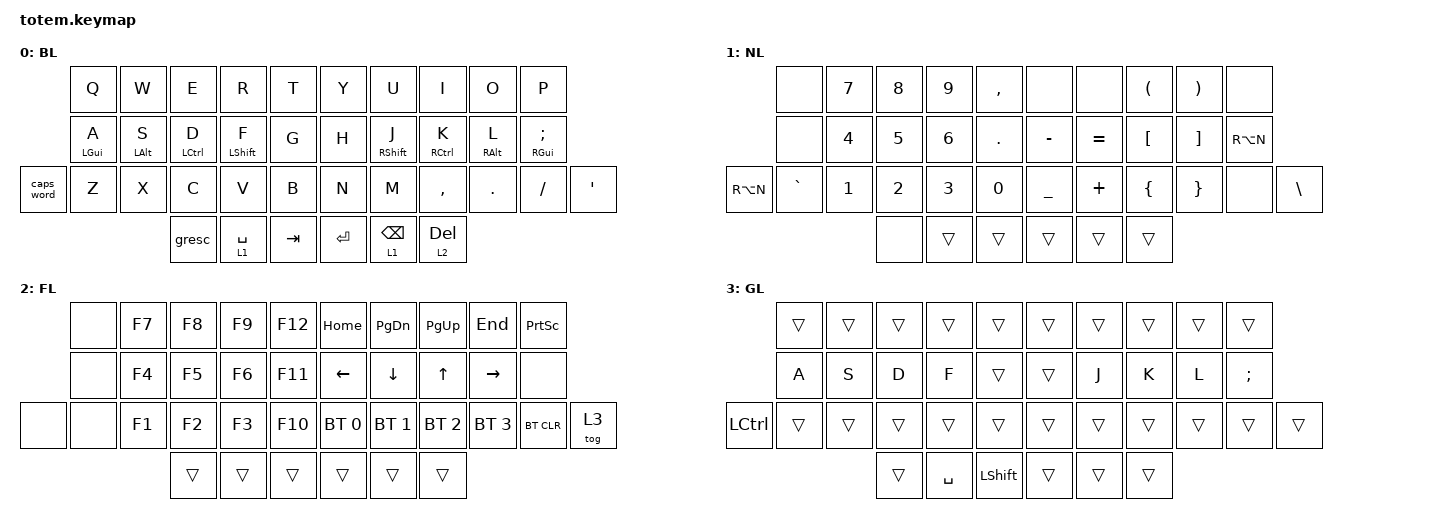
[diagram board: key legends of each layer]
//
//                                                        ▀▀▀▀▀     ▀▀▀▀▀          ▀▀█▀▀
//                                                        ▄▀▀▀▄  ▄  ▄▀▀▀▄  ▄  ▄▀▀▀▄  █  ▄▀▀▀▄
//                                                        █   █  █  █   █  █  █   █  █  █   █
//                                                         ▀▀▀   █   ▀▀▀   █   ▀▀▀   ▀   ▀▀▀
//                                                               █      ▄▄▄█▄▄▄    █   █  
//                                                               ▀      █  █  █     █▄█
//                                                             ▀▀▀▀▀    █  █  █      ▀
//                                                                      ▀  ▀  ▀
//
// ▄▄▄▄▄▄▄▄▄▄▄▄▄▄▄▄▄▄▄▄▄▄▄▄▄▄▄▄▄▄▄▄▄▄▄▄▄▄▄▄▄▄▄▄▄▄▄▄▄▄▄▄▄▄▄▄▄▄▄▄▄▄▄▄▄▄▄▄▄▄▄▄▄▄▄▄▄▄▄▄▄▄▄▄▄▄▄▄▄▄▄▄▄▄▄▄▄▄▄▄▄▄▄▄▄▄▄▄▄▄▄▄▄▄▄▄▄▄▄▄▄▄▄▄▄▄▄▄▄▄▄▄▄▄▄▄▄▄▄▄▄▄▄▄▄▄▄▄▄

#include <behaviors.dtsi>
#include <dt-bindings/zmk/bt.h>
#include <dt-bindings/zmk/keys.h>

#define _BL 0  // base layer
#define _NL 1  // num layer
#define _FL 2  // function layer
#define _GL 3  // game layer
#define QUICK_TAP_MS 225
#define TAPPING_TERM_MS 180

&lt {
    quick-tap-ms = <QUICK_TAP_MS>;
    tapping-term-ms = <TAPPING_TERM_MS>;
    flavor = "balanced";
};

/ {
    combos { compatible = "zmk,combos"; };

    behaviors {
        hml: hml {
            compatible = "zmk,behavior-hold-tap";
            label = "HML";
            bindings = <&kp>, <&kp>;

            #binding-cells = <2>;
            hold-trigger-key-positions = <32 33 34 35 36 37 26 27 15 5 6 16 17 7 28 29 18 8 9 30 19 31>;
            hold-trigger-on-release;
            flavor = "balanced";
            tapping-term-ms = <180>;
            quick-tap-ms = <175>;
            require-prior-idle-ms = <150>;
        };

        hmr: hmr {
            compatible = "zmk,behavior-hold-tap";
            label = "HMR";
            bindings = <&kp>, <&kp>;

            #binding-cells = <2>;
            hold-trigger-key-positions = <34 33 32 0 1 2 3 4 10 11 12 13 14 20 21 22 23 24 25 32 33 34 35 36 37>;
            require-prior-idle-ms = <150>;
            quick-tap-ms = <175>;
            tapping-term-ms = <180>;
            flavor = "balanced";
            hold-trigger-on-release;
        };
    };

    keymap {
        compatible = "zmk,keymap";

        base_layer {
            label = "BL";
            bindings = <
            &kp Q        &kp W        &kp E         &kp R         &kp T      &kp Y      &kp U            &kp I         &kp O        &kp P
            &hml LGUI A  &hml LALT S  &hml LCTRL D  &hml LSHFT F  &kp G      &kp H      &hmr RSHFT J     &hmr RCTRL K  &hmr RALT L  &hmr RGUI SEMI
&caps_word  &kp Z        &kp X        &kp C         &kp V         &kp B      &kp N      &kp M            &kp COMMA     &kp PERIOD   &kp SLASH       &kp SQT
                                      &gresc        &lt 1 SPACE   &kp TAB    &kp ENTER  &lt 1 BACKSPACE  &lt 2 DELETE
            >;
        };

        num_layer {
            label = "NL";
            bindings = <
           &none      &kp N7  &kp N8  &kp N9  &kp COMMA    &none           &none      &kp LPAR        &kp RPAR         &none
           &none      &kp N4  &kp N5  &kp N6  &kp DOT      &kp MINUS       &kp EQUAL  &kp LBKT        &kp RBKT         &kp RA(N)
&kp RA(N)  &kp GRAVE  &kp N1  &kp N2  &kp N3  &kp N0       &kp UNDERSCORE  &kp PLUS   &kp LEFT_BRACE  &kp RIGHT_BRACE  &none      &kp BSLH
                              &none   &trans  &trans       &trans          &trans     &trans
            >;
        };

        function_layer {
            label = "FL";
            bindings = <
       &none  &kp F7  &kp F8  &kp F9  &kp F12    &kp HOME      &kp PG_DN     &kp PG_UP     &kp END       &kp PSCRN
       &none  &kp F4  &kp F5  &kp F6  &kp F11    &kp LEFT      &kp DOWN      &kp UP        &kp RIGHT     &none
&none  &none  &kp F1  &kp F2  &kp F3  &kp F10    &bt BT_SEL 0  &bt BT_SEL 1  &bt BT_SEL 2  &bt BT_SEL 3  &bt BT_CLR  &tog 3
                      &trans  &trans  &trans     &trans        &trans        &trans
            >;
        };

        game_layer {
            bindings = <
           &trans  &trans  &trans  &trans     &trans       &trans  &trans  &trans  &trans  &trans
           &kp A   &kp S   &kp D   &kp F      &trans       &trans  &kp J   &kp K   &kp L   &kp SEMI
&kp LCTRL  &trans  &trans  &trans  &trans     &trans       &trans  &trans  &trans  &trans  &trans    &trans
                           &trans  &kp SPACE  &kp LSHFT    &trans  &trans  &trans
            >;

            label = "GL";
        };
    };
};
